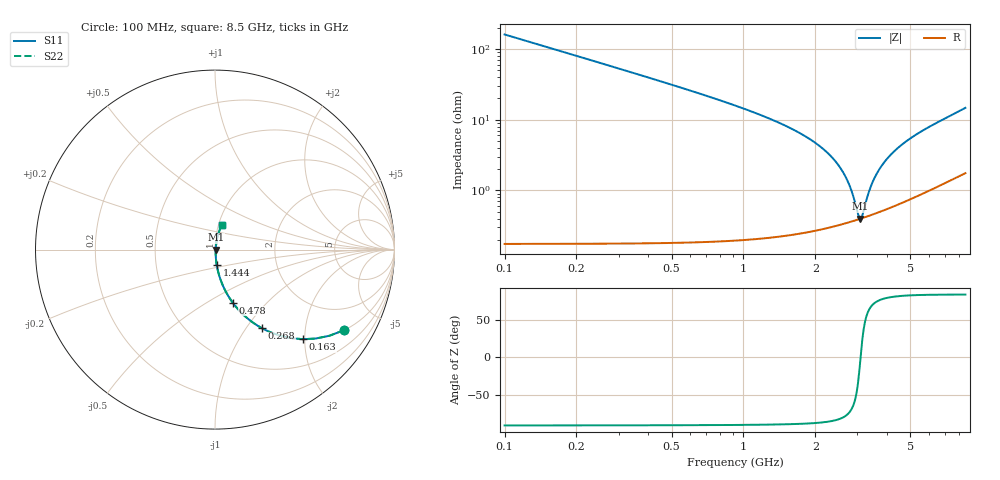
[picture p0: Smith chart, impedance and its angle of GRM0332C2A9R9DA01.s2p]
!Murata Part Number: GRM0332C2A9R9DA01
!These Parameters are Measured in Series Mode Connection
!Data Generated on Mar 30, 2021
!  o--ll--o
!Port1  Port2
!  o------o
!Operation Temp=25[degC], DC Bias Voltage=0[V]
!Freq. Start=100[MHz] Stop=9[GHz] 401[Steps]
# Hz S RI R 50
!Freq.(Hz) S11(Real) S11(Imag) S21(Real) S21(Imag) S12(Real) S12(Imag) S22(Real) S22(Imag)
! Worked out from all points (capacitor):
!   401 points, 100 MHz to 8.5 GHz, reference 50 ohm
!   read as one part in series: C = 9.9 pF near 142 MHz
!   lowest |Z| = 399 mohm at 3.082 GHz (marker M1)
!   series resonance near 3.094 GHz, so ESL is about 270 pH
!   S11 on the Smith chart (normalised r, x): 100 MHz: 1.00, -3.21; 163 MHz: 1.00, -1.97; 268 MHz: 1.00, -1.19; 478 MHz: 1.00, -0.66; 1.444 GHz: 1.00, -0.17; 8.5 GHz: 1.04, +0.29
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1e8  0.7204 -0.4483  0.2796 0.4483  0.2796 0.4483  0.7204 -0.4483
1.63e8  0.4917 -0.499  0.5083 0.499  0.5083 0.499  0.4917 -0.499
2.68e8  0.2624 -0.4384  0.7376 0.4384  0.7376 0.4384  0.2624 -0.4384
4.78e8  0.0987 -0.2955  0.9013 0.2955  0.9013 0.2955  0.0987 -0.2955
8.56e8  0.031 -0.1679  0.969 0.1679  0.969 0.1679  0.031 -0.1679
1.444e9  0.00975 -0.0863  0.9902 0.0863  0.9902 0.0863  0.00975 -0.0863
1.507e9  0.00885 -0.0807  0.9911 0.0807  0.9911 0.0807  0.00885 -0.0807
2.074e9  0.00458 -0.0426  0.9954 0.0426  0.9954 0.0426  0.00458 -0.0426
2.431e9  0.00377 -0.0253  0.9962 0.0253  0.9962 0.0253  0.00377 -0.0253
2.704e9  0.00365 -0.0141  0.9963 0.0141  0.9963 0.0141  0.00365 -0.0141
2.914e9  0.00376 -0.00625  0.9962 0.00625  0.9962 0.00625  0.00376 -0.00625
3.019e9  0.00387 -0.00256  0.9961 0.00256  0.9961 0.00256  0.00387 -0.00256
3.082e9  0.00395 -0.000398  0.996 0.000398  0.996 0.000398  0.00395 -0.000398
3.145e9  0.00405 0.00172  0.996 -0.00172  0.996 -0.00172  0.00405 0.00172
3.397e9  0.00452 0.00981  0.9955 -0.00981  0.9955 -0.00981  0.00452 0.00981
3.586e9  0.00497 0.0155  0.995 -0.0155  0.995 -0.0155  0.00497 0.0155
3.901e9  0.00587 0.0246  0.9941 -0.0246  0.9941 -0.0246  0.00587 0.0246
4.3e9  0.00726 0.0354  0.9927 -0.0354  0.9927 -0.0354  0.00726 0.0354
4.909e9  0.00985 0.0508  0.9902 -0.0508  0.9902 -0.0508  0.00985 0.0508
5.707e9  0.0141 0.0699  0.9859 -0.0699  0.9859 -0.0699  0.0141 0.0699
7.114e9  0.0238 0.103  0.9762 -0.103  0.9762 -0.103  0.0238 0.103
8.5e9  0.0371 0.1383  0.9629 -0.1383  0.9629 -0.1383  0.0371 0.1383
